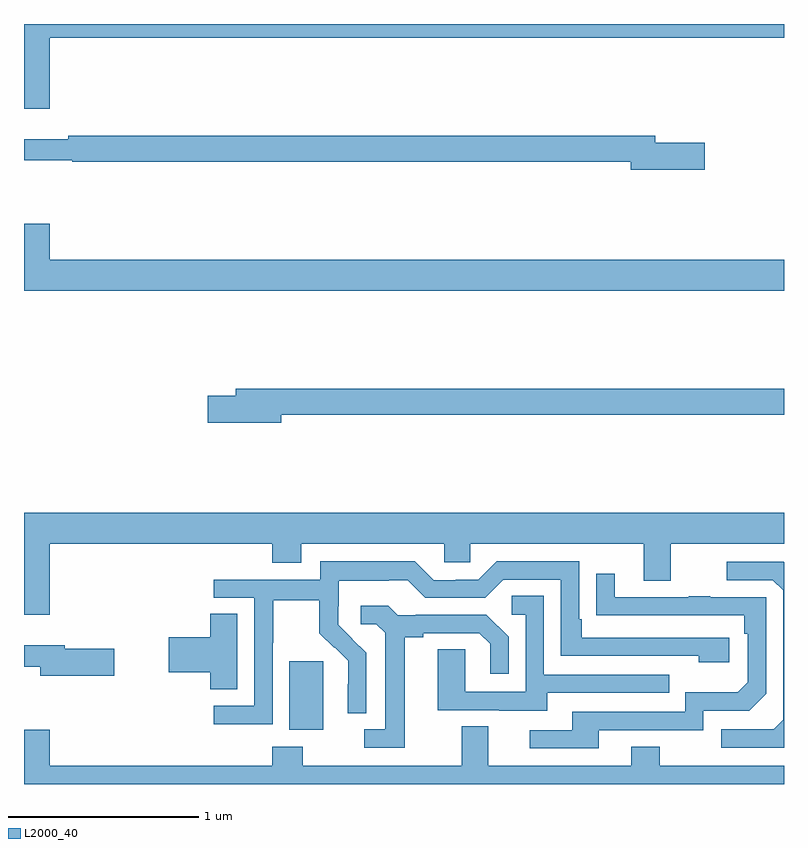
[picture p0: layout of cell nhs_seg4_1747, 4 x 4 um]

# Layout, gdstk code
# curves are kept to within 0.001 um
import gdstk
lib = gdstk.Library(unit=1e-6, precision=1e-09)
def R(c, l, rs):  # rectangles x0, y0, x1, y1
    for r in rs: c.add(gdstk.rectangle(r[:2], r[2:], *l))
def P(c, l, *ps):  # polygons
    for p in ps: c.add(gdstk.Polygon(p, *l))
L2000_40 = (2000, 40)

nhs_seg4_1747 = lib.new_cell('nhs_seg4_1747')
R(nhs_seg4_1747, L2000_40, [(202.397,785.186,202.576,785.547)])
P(nhs_seg4_1747, L2000_40, [(201.136,788.828),(205,788.828),(205,788.9),(201,788.9),(201,788.454),(201.136,788.454)],
  [(204.583,788.276),(204.322,788.276),(204.322,788.312),(201.232,788.312),(201.232,788.293),(201,788.293),(201,788.184),(201.255,788.184),(201.255,788.176),(204.194,788.176),(204.194,788.134),(204.583,788.134)],
  [(205,787.66),(201.136,787.66),(201.136,787.849),(201,787.849),(201,787.496),(205,787.496)],
  [(202.354,786.844),(205,786.844),(205,786.98),(202.115,786.98),(202.115,786.944),(201.966,786.944),(201.966,786.802),(202.354,786.802)],
  [(201.136,786.164),(202.307,786.164),(202.307,786.065),(202.459,786.065),(202.459,786.164),(203.211,786.164),(203.211,786.066),(203.349,786.066),(203.349,786.164),(204.263,786.164),(204.263,785.97),(204.403,785.97),(204.403,786.164),(205,786.164),(205,786.328),(201,786.328),(201,785.79),(201.136,785.79)],
  [(202.308,785.644),(202.311,785.644),(202.311,785.868),(202.555,785.868),(202.555,785.693),(202.632,785.616),(202.635,785.619),(202.706,785.549),(202.706,785.426),(202.704,785.426),(202.704,785.272),(202.8,785.272),(202.8,785.59),(202.654,785.738),(202.654,785.835),(202.656,785.835),(202.656,785.969),(202.919,785.969),(202.919,785.973),(203.019,785.973),(203.112,785.88),(203.427,785.88),(203.523,785.976),(203.826,785.976),(203.826,785.574),(204.551,785.574),(204.551,785.54),(204.712,785.54),(204.712,785.67),(203.935,785.67),(203.935,785.767),(203.922,785.767),(203.922,786.072),(203.487,786.072),(203.391,785.976),(203.273,785.976),(203.273,785.973),(203.157,785.973),(203.057,786.073),(202.56,786.073),(202.56,785.976),(201.999,785.976),(201.999,785.88),(202.212,785.88),(202.212,785.313),(201.999,785.313),(201.999,785.215),(202.308,785.215)],
  [(205,786.068),(204.999,786.069),(204.699,786.069),(204.699,785.973),(204.942,785.973),(204.996,785.919),(204.996,785.238),(204.945,785.187),(204.669,785.187),(204.669,785.091),(205,785.091)],
  [(204.025,785.184),(204.576,785.184),(204.576,785.286),(204.816,785.286),(204.906,785.376),(204.906,785.883),(204.611,785.883),(204.611,785.888),(204.499,785.888),(204.499,785.883),(204.109,785.883),(204.109,786.007),(204.013,786.007),(204.013,785.788),(204.79,785.787),(204.79,785.69),(204.81,785.69),(204.81,785.436),(204.757,785.383),(204.48,785.383),(204.48,785.28),(203.885,785.28),(203.885,785.184),(203.661,785.184),(203.661,785.088),(204.025,785.088)],
  [(203.755,785.379),(204.395,785.379),(204.395,785.475),(203.736,785.475),(203.736,785.891),(203.568,785.891),(203.568,785.79),(203.64,785.79),(203.64,785.385),(203.322,785.385),(203.322,785.609),(203.177,785.609),(203.177,785.289),(203.501,785.289),(203.501,785.285),(203.755,785.285)],
  [(203.005,785.672),(203.101,785.672),(203.101,785.694),(203.396,785.694),(203.453,785.637),(203.453,785.481),(203.55,785.481),(203.55,785.674),(203.434,785.79),(203.062,785.79),(203.062,785.787),(202.968,785.787),(202.916,785.839),(202.773,785.839),(202.773,785.742),(202.854,785.742),(202.901,785.695),(202.901,785.187),(202.791,785.187),(202.791,785.091),(203.005,785.091)],
  [(202.123,785.795),(201.98,785.795),(201.98,785.672),(201.762,785.672),(201.762,785.489),(201.98,785.489),(201.98,785.398),(202.123,785.398)],
  [(201.475,785.612),(201.214,785.612),(201.214,785.629),(201,785.629),(201,785.516),(201.086,785.516),(201.086,785.47),(201.475,785.47)],
  [(205,784.996),(204.345,784.996),(204.345,785.095),(204.197,785.095),(204.197,784.996),(203.443,784.996),(203.443,785.204),(203.303,785.204),(203.303,784.996),(202.467,784.996),(202.467,785.095),(202.307,785.095),(202.307,784.996),(201.136,784.996),(201.136,785.185),(201,785.185),(201,784.9),(205,784.9)])

lib.write_gds('nhs_seg4_1747.gds')
